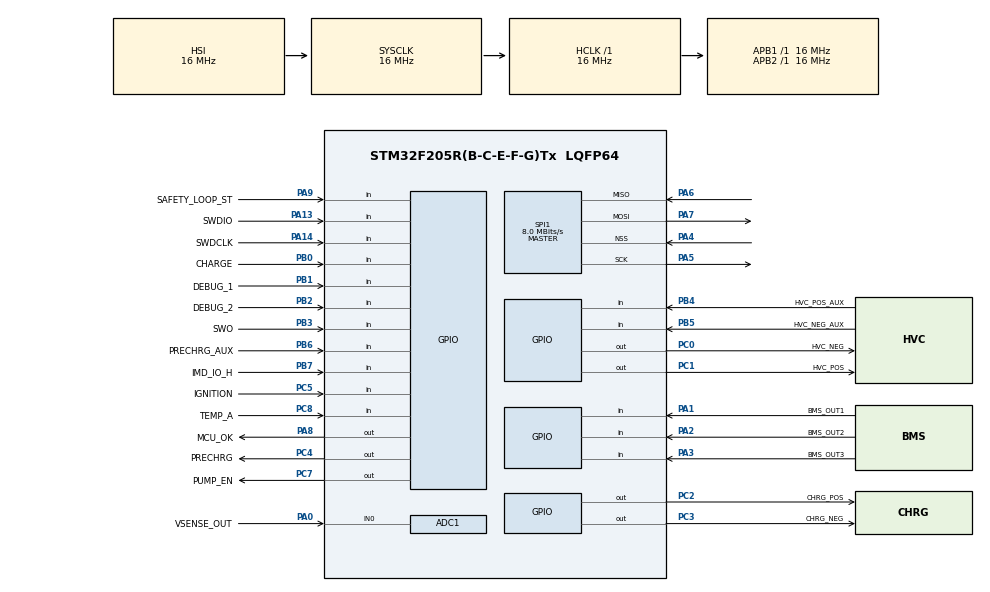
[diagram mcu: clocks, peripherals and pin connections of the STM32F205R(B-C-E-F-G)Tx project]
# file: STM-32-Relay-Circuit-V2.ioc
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ADC1.Channel-0\#ChannelRegularConversion=ADC_CHANNEL_0
ADC1.NbrOfConversionFlag=1
ADC1.Rank-0\#ChannelRegularConversion=1
ADC1.SamplingTime-0\#ChannelRegularConversion=ADC_SAMPLETIME_3CYCLES
ADC1.master=1
Mcu.Family=STM32F2
Mcu.Name=STM32F205R(B-C-E-F-G)Tx
Mcu.Package=LQFP64
NVIC.PriorityGroup=NVIC_PRIORITYGROUP_4
PA0-WKUP.GPIO_Label=VSENSE_OUT
PA0-WKUP.Signal=ADCx_IN0
PA1.GPIO_Label=BMS_OUT1
PA1.Signal=GPIO_Input
PA13.GPIO_Label=SWDIO
PA13.Signal=GPIO_Input
PA14.GPIO_Label=SWDCLK
PA14.Signal=GPIO_Input
PA2.GPIO_Label=BMS_OUT2
PA2.Signal=GPIO_Input
PA3.GPIO_Label=BMS_OUT3
PA3.Signal=GPIO_Input
PA4.Mode=NSS_Signal_Hard_Input
PA4.Signal=SPI1_NSS
PA5.Mode=Full_Duplex_Master
PA5.Signal=SPI1_SCK
PA6.Mode=Full_Duplex_Master
PA6.Signal=SPI1_MISO
PA7.Mode=Full_Duplex_Master
PA7.Signal=SPI1_MOSI
PA8.GPIO_Label=MCU_OK
PA8.Signal=GPIO_Output
PA9.GPIO_Label=SAFETY_LOOP_ST
PA9.Signal=GPIO_Input
PB0.GPIO_Label=CHARGE
PB0.Signal=GPIO_Input
PB1.GPIO_Label=DEBUG_1
PB1.Signal=GPIO_Input
PB2.GPIO_Label=DEBUG_2
PB2.Signal=GPIO_Input
PB3.GPIO_Label=SWO
PB3.Signal=GPIO_Input
PB4.GPIO_Label=HVC_POS_AUX
PB4.Signal=GPIO_Input
PB5.GPIO_Label=HVC_NEG_AUX
PB5.Signal=GPIO_Input
PB6.GPIO_Label=PRECHRG_AUX
PB6.Signal=GPIO_Input
PB7.GPIO_Label=IMD_IO_H
PB7.Signal=GPIO_Input
PC0.GPIO_Label=HVC_NEG
PC0.Signal=GPIO_Output
PC1.GPIO_Label=HVC_POS
PC1.Signal=GPIO_Output
PC2.GPIO_Label=CHRG_POS
PC2.Signal=GPIO_Output
PC3.GPIO_Label=CHRG_NEG
PC3.Signal=GPIO_Output
PC4.GPIO_Label=PRECHRG
PC4.Signal=GPIO_Output
PC5.GPIO_Label=IGNITION
PC5.Signal=GPIO_Input
PC7.GPIO_Label=PUMP_EN
PC7.Signal=GPIO_Output
PC8.GPIO_Label=TEMP_A
PC8.Signal=GPIO_Input
ProjectManager.HeapSize=0x200
ProjectManager.StackSize=0x400
ProjectManager.TargetToolchain=STM32CubeIDE
RCC.48MHZClocksFreq_Value=48000000
RCC.AHBFreq_Value=16000000
RCC.APB1Freq_Value=16000000
RCC.APB2Freq_Value=16000000
RCC.CortexFreq_Value=16000000
RCC.HSE_VALUE=25000000
RCC.HSI_VALUE=16000000
RCC.LSE_VALUE=32768
RCC.SYSCLKFreq_VALUE=16000000
RCC.VCOOutputFreq_Value=192000000
SH.ADCx_IN0.0=ADC1_IN0,IN0
SPI1.CalculateBaudRate=8.0 MBits/s
SPI1.Direction=SPI_DIRECTION_2LINES
SPI1.Mode=SPI_MODE_MASTER
SPI1.VirtualNSS=VM_NSSHARD
SPI1.VirtualType=VM_MASTER
VP_TIM13_VS_ClockSourceINT.Mode=Enable_Timer
VP_TIM2_VS_ClockSourceINT.Mode=Internal
board=custom

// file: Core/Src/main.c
/* USER CODE BEGIN Header */
/**
  ******************************************************************************
  * @file           : main.c
  * @brief          : Main program body
  ******************************************************************************
  * @attention
  *
  * Copyright (c) 2024 STMicroelectronics.
  * All rights reserved.
  *
  * This software is licensed under terms that can be found in the LICENSE file
  * in the root directory of this software component.
  * If no LICENSE file comes with this software, it is provided AS-IS.
  *
  ******************************************************************************
  */
/* USER CODE END Header */
#include "main.h"
#include <stdbool.h>
#include <stdio.h>
#include <stdlib.h>

/* USER CODE BEGIN Includes */
float Read_ADC_Voltage(void);
// watch out for running out of onboard memory because of inline
static inline void check_high(GPIO_TypeDef *GPIOx,uint16_t GPIO_Pin);
static inline void check_low(GPIO_TypeDef *GPIOx,uint16_t GPIO_Pin);

/* USER CODE END Includes */

/* USER CODE BEGIN PD */
#define HVC_POS_AUX_PORT GPIOB
#define HVC_NEG_AUX_PORT GPIOB
#define PRECHRG_AUX_PORT GPIOB
#define R4_AUX_PORT GPIOB

#define BLINK_TEST_PORT GPIOA

#define IMD_IO_H_PORT
#define IMD_IO_L_PORT

#define HVC_POS_PORT GPIOC
#define HVC_NEG_PORT GPIOC
#define PRECHRG_PORT GPIOC
#define VSENSE_OUT_PORT VSENSE_OUT_GPIO_Port
#define CHRG_POS_PORT GPIOC
#define CHRG_NEG_PORT GPIOC

#define BMS_INPUT1_PORT GPIOA
#define BMS_INPUT2_PORT GPIOA
#define BMS_INPUT3_PORT GPIOA

#define SP1_NSS_PORT
#define SP1_SCK_PORT
#define SP1_MISO_PORT
#define SP1_MOSI_PORT

#define IGNITION_PORT GPIOC
#define CHARGE_PORT GPIOC
#define PUMP_EN_PORT GPIOC

#define BMS_OUT1_PORT GPIOB
#define IMD_IO_H_PORT GPIOB
#define SAFETY_LOOP_ST_PORT GPIOA

#define CAN1_TX_PORT
#define CAN1_RX_PORT

typedef enum {
	UPDATING, SHUTDOWN, STANDBY, CHARGING, PRECHARGE, OPERATION, DISCHARGE
} AllStatus;

AllStatus Status = STANDBY;
int updating_counter = 0;
int operation = 0;
int ignition = 0;
int charging = 0;

float can_voltage =0.0;

uint32_t updating_start_tick = 0;
/* USER CODE END PD */

ADC_HandleTypeDef hadc1;

SPI_HandleTypeDef hspi1;

TIM_HandleTypeDef htim2;
TIM_HandleTypeDef htim13;

void SystemClock_Config(void);
static void MX_GPIO_Init(void);
static void MX_ADC1_Init(void);
static void MX_SPI1_Init(void);
static void MX_TIM13_Init(void);
static void MX_TIM2_Init(void);
/* USER CODE BEGIN PFP */
void while_operation(void);
void set_discharge(void);
void set_precharge(void);  // Forward declaration
void set_charging(void);   // Forward declaration
/* USER CODE END PFP */

/* USER CODE BEGIN 0 */
void allRelaysOpen() {
	HAL_GPIO_WritePin(HVC_POS_PORT, HVC_POS_Pin, GPIO_PIN_RESET); // AUX_1
	HAL_GPIO_WritePin(HVC_NEG_PORT, HVC_NEG_Pin, GPIO_PIN_RESET); // AUX_2
	HAL_GPIO_WritePin(PRECHRG_PORT, PRECHRG_Pin, GPIO_PIN_RESET); // AUX_3

	HAL_GPIO_WritePin(CHRG_NEG_PORT, CHRG_NEG_Pin, GPIO_PIN_RESET);
	HAL_GPIO_WritePin(CHRG_POS_PORT, CHRG_POS_Pin, GPIO_PIN_RESET);
	HAL_GPIO_WritePin(PUMP_EN_PORT, PUMP_EN_Pin, GPIO_PIN_RESET);

	HAL_Delay(1000);

	check_low(HVC_POS_AUX_PORT, HVC_POS_AUX_Pin);
	check_low(HVC_NEG_AUX_PORT, HVC_NEG_AUX_Pin);
	check_low(PRECHRG_AUX_PORT, PRECHRG_AUX_Pin);

}

void allDigitalRead() {
	HAL_GPIO_ReadPin(IGNITION_PORT, IGNITION_Pin);
	HAL_GPIO_ReadPin(CHARGE_PORT, CHARGE_Pin);

}

void allAuxDigitalRead() {
	HAL_GPIO_ReadPin(HVC_POS_AUX_PORT, HVC_POS_AUX_Pin);
	HAL_GPIO_ReadPin(HVC_NEG_AUX_PORT, HVC_NEG_AUX_Pin);
	HAL_GPIO_ReadPin(PRECHRG_AUX_PORT, PRECHRG_AUX_Pin);
}

int Reading_Pin(char aux_number) {
	int state = 0; // Default state
	switch (aux_number) {
	case '1':
		state = HAL_GPIO_ReadPin(HVC_POS_AUX_PORT, HVC_POS_AUX_Pin);
		break;
	case '2':
		state = HAL_GPIO_ReadPin(HVC_NEG_AUX_PORT, HVC_NEG_AUX_Pin);
		break;
	case '3':
		state = HAL_GPIO_ReadPin(PRECHRG_AUX_PORT, PRECHRG_AUX_Pin);
		break;
	case 'I':
		state = HAL_GPIO_ReadPin(IGNITION_PORT, IGNITION_Pin);
		break;
	case 'c':
		state = HAL_GPIO_ReadPin(CHARGE_PORT, CHARGE_Pin);
		break;
	case 'h':
		state = HAL_GPIO_ReadPin(VSENSE_OUT_GPIO_Port, VSENSE_OUT_Pin);
		break;
	default:
		state = -1; // Indicate an invalid aux_number
		break;
	}
	return state;
}
/* USER CODE END 0 */

int main(void)
{

  /* MCU Configuration--------------------------------------------------------*/

  /* Reset of all peripherals, Initializes the Flash interface and the Systick. */
  HAL_Init();

  /* Configure the system clock */
  SystemClock_Config();

  /* Initialize all configured peripherals */
  MX_GPIO_Init();
  MX_ADC1_Init();
  MX_SPI1_Init();
  MX_TIM13_Init();
  MX_TIM2_Init();

  /* Infinite loop */
  while (1)
  {

	  if (HAL_GPIO_ReadPin(IGNITION_PORT, IGNITION_Pin) == GPIO_PIN_SET) {
		  set_precharge();
	  	  while_operation();
	  }

	  else if (HAL_GPIO_ReadPin(CHARGE_PORT, CHARGE_Pin) == GPIO_PIN_SET) {
	  	  set_charging();
  	  }

  }
}

void SystemClock_Config(void)
{
  RCC_OscInitTypeDef RCC_OscInitStruct = {0};
  RCC_ClkInitTypeDef RCC_ClkInitStruct = {0};

  /** Initializes the RCC Oscillators according to the specified parameters
  * in the RCC_OscInitTypeDef structure.
  */
  RCC_OscInitStruct.OscillatorType = RCC_OSCILLATORTYPE_HSI;
  RCC_OscInitStruct.HSIState = RCC_HSI_ON;
  RCC_OscInitStruct.HSICalibrationValue = RCC_HSICALIBRATION_DEFAULT;
  RCC_OscInitStruct.PLL.PLLState = RCC_PLL_NONE;
  if (HAL_RCC_OscConfig(&RCC_OscInitStruct) != HAL_OK)
  {
    Error_Handler();
  }

  /** Initializes the CPU, AHB and APB buses clocks
  */
  RCC_ClkInitStruct.ClockType = RCC_CLOCKTYPE_HCLK|RCC_CLOCKTYPE_SYSCLK
                              |RCC_CLOCKTYPE_PCLK1|RCC_CLOCKTYPE_PCLK2;
  RCC_ClkInitStruct.SYSCLKSource = RCC_SYSCLKSOURCE_HSI;
  RCC_ClkInitStruct.AHBCLKDivider = RCC_SYSCLK_DIV1;
  RCC_ClkInitStruct.APB1CLKDivider = RCC_HCLK_DIV1;
  RCC_ClkInitStruct.APB2CLKDivider = RCC_HCLK_DIV1;

  if (HAL_RCC_ClockConfig(&RCC_ClkInitStruct, FLASH_LATENCY_0) != HAL_OK)
  {
    Error_Handler();
  }
}

static void MX_ADC1_Init(void)
{

  ADC_ChannelConfTypeDef sConfig = {0};

  /** Configure the global features of the ADC (Clock, Resolution, Data Alignment and number of conversion)
  */
  hadc1.Instance = ADC1;
  hadc1.Init.ClockPrescaler = ADC_CLOCK_SYNC_PCLK_DIV2;
  hadc1.Init.Resolution = ADC_RESOLUTION_12B;
  hadc1.Init.ScanConvMode = DISABLE;
  hadc1.Init.ContinuousConvMode = DISABLE;
  hadc1.Init.DiscontinuousConvMode = DISABLE;
  hadc1.Init.ExternalTrigConvEdge = ADC_EXTERNALTRIGCONVEDGE_NONE;
  hadc1.Init.ExternalTrigConv = ADC_SOFTWARE_START;
  hadc1.Init.DataAlign = ADC_DATAALIGN_RIGHT;
  hadc1.Init.NbrOfConversion = 1;
  hadc1.Init.DMAContinuousRequests = DISABLE;
  hadc1.Init.EOCSelection = ADC_EOC_SINGLE_CONV;
  if (HAL_ADC_Init(&hadc1) != HAL_OK)
  {
    Error_Handler();
  }

  /** Configure for the selected ADC regular channel its corresponding rank in the sequencer and its sample time.
  */
  sConfig.Channel = ADC_CHANNEL_0;
  sConfig.Rank = 1;
  sConfig.SamplingTime = ADC_SAMPLETIME_3CYCLES;
  if (HAL_ADC_ConfigChannel(&hadc1, &sConfig) != HAL_OK)
  {
    Error_Handler();
  }

}

static void MX_SPI1_Init(void)
{

  /* SPI1 parameter configuration*/
  hspi1.Instance = SPI1;
  hspi1.Init.Mode = SPI_MODE_MASTER;
  hspi1.Init.Direction = SPI_DIRECTION_2LINES;
  hspi1.Init.DataSize = SPI_DATASIZE_8BIT;
  hspi1.Init.CLKPolarity = SPI_POLARITY_LOW;
  hspi1.Init.CLKPhase = SPI_PHASE_1EDGE;
  hspi1.Init.NSS = SPI_NSS_HARD_INPUT;
  hspi1.Init.BaudRatePrescaler = SPI_BAUDRATEPRESCALER_2;
  hspi1.Init.FirstBit = SPI_FIRSTBIT_MSB;
  hspi1.Init.TIMode = SPI_TIMODE_DISABLE;
  hspi1.Init.CRCCalculation = SPI_CRCCALCULATION_DISABLE;
  hspi1.Init.CRCPolynomial = 10;
  if (HAL_SPI_Init(&hspi1) != HAL_OK)
  {
    Error_Handler();
  }

}

static void MX_TIM2_Init(void)
{

  TIM_ClockConfigTypeDef sClockSourceConfig = {0};
  TIM_MasterConfigTypeDef sMasterConfig = {0};

  htim2.Instance = TIM2;
  htim2.Init.Prescaler = 0;
  htim2.Init.CounterMode = TIM_COUNTERMODE_UP;
  htim2.Init.Period = 4294967295;
  htim2.Init.ClockDivision = TIM_CLOCKDIVISION_DIV1;
  htim2.Init.AutoReloadPreload = TIM_AUTORELOAD_PRELOAD_DISABLE;
  if (HAL_TIM_Base_Init(&htim2) != HAL_OK)
  {
    Error_Handler();
  }
  sClockSourceConfig.ClockSource = TIM_CLOCKSOURCE_INTERNAL;
  if (HAL_TIM_ConfigClockSource(&htim2, &sClockSourceConfig) != HAL_OK)
  {
    Error_Handler();
  }
  sMasterConfig.MasterOutputTrigger = TIM_TRGO_RESET;
  sMasterConfig.MasterSlaveMode = TIM_MASTERSLAVEMODE_DISABLE;
  if (HAL_TIMEx_MasterConfigSynchronization(&htim2, &sMasterConfig) != HAL_OK)
  {
    Error_Handler();
  }

}

static void MX_TIM13_Init(void)
{

  htim13.Instance = TIM13;
  htim13.Init.Prescaler = 0;
  htim13.Init.CounterMode = TIM_COUNTERMODE_UP;
  htim13.Init.Period = 65535;
  htim13.Init.ClockDivision = TIM_CLOCKDIVISION_DIV1;
  htim13.Init.AutoReloadPreload = TIM_AUTORELOAD_PRELOAD_DISABLE;
  if (HAL_TIM_Base_Init(&htim13) != HAL_OK)
  {
    Error_Handler();
  }

}

static void MX_GPIO_Init(void)
{
  GPIO_InitTypeDef GPIO_InitStruct = {0};

  /* GPIO Ports Clock Enable */
  __HAL_RCC_GPIOC_CLK_ENABLE();
  __HAL_RCC_GPIOA_CLK_ENABLE();
  __HAL_RCC_GPIOB_CLK_ENABLE();

  /*Configure GPIO pin Output Level */
  HAL_GPIO_WritePin(GPIOC, HVC_NEG_Pin|HVC_POS_Pin|CHRG_POS_Pin|CHRG_NEG_Pin
                          |PRECHRG_Pin|PUMP_EN_Pin, GPIO_PIN_RESET);

  /*Configure GPIO pin Output Level */
  HAL_GPIO_WritePin(MCU_OK_GPIO_Port, MCU_OK_Pin, GPIO_PIN_RESET);

  /*Configure GPIO pins : HVC_NEG_Pin HVC_POS_Pin CHRG_POS_Pin CHRG_NEG_Pin
                           PRECHRG_Pin PUMP_EN_Pin */
  GPIO_InitStruct.Pin = HVC_NEG_Pin|HVC_POS_Pin|CHRG_POS_Pin|CHRG_NEG_Pin
                          |PRECHRG_Pin|PUMP_EN_Pin;
  GPIO_InitStruct.Mode = GPIO_MODE_OUTPUT_PP;
  GPIO_InitStruct.Pull = GPIO_NOPULL;
  GPIO_InitStruct.Speed = GPIO_SPEED_FREQ_LOW;
  HAL_GPIO_Init(GPIOC, &GPIO_InitStruct);

  /*Configure GPIO pins : BMS_OUT1_Pin BMS_OUT2_Pin BMS_OUT3_Pin SAFETY_LOOP_ST_Pin
                           SWDIO_Pin SWDCLK_Pin */
  GPIO_InitStruct.Pin = BMS_OUT1_Pin|BMS_OUT2_Pin|BMS_OUT3_Pin|SAFETY_LOOP_ST_Pin
                          |SWDIO_Pin|SWDCLK_Pin;
  GPIO_InitStruct.Mode = GPIO_MODE_INPUT;
  GPIO_InitStruct.Pull = GPIO_NOPULL;
  HAL_GPIO_Init(GPIOA, &GPIO_InitStruct);

  /*Configure GPIO pins : IGNITION_Pin TEMP_A_Pin */
  GPIO_InitStruct.Pin = IGNITION_Pin|TEMP_A_Pin;
  GPIO_InitStruct.Mode = GPIO_MODE_INPUT;
  GPIO_InitStruct.Pull = GPIO_NOPULL;
  HAL_GPIO_Init(GPIOC, &GPIO_InitStruct);

  /*Configure GPIO pins : CHARGE_Pin DEBUG_1_Pin DEBUG_2_Pin SWO_Pin
                          works HVC_POS_AUX_Pin HVC_NEG_AUX_Pin PRECHRG_AUX_Pin IMD_IO_H_Pin */
  GPIO_InitStruct.Pin = CHARGE_Pin|DEBUG_1_Pin|DEBUG_2_Pin|SWO_Pin
                          |HVC_POS_AUX_Pin|HVC_NEG_AUX_Pin|PRECHRG_AUX_Pin|IMD_IO_H_Pin;
  GPIO_InitStruct.Mode = GPIO_MODE_INPUT;
  GPIO_InitStruct.Pull = GPIO_NOPULL;
  HAL_GPIO_Init(GPIOB, &GPIO_InitStruct);

  /*Configure GPIO pin : MCU_OK_Pin */
  GPIO_InitStruct.Pin = MCU_OK_Pin;
  GPIO_InitStruct.Mode = GPIO_MODE_OUTPUT_PP;
  GPIO_InitStruct.Pull = GPIO_NOPULL;
  GPIO_InitStruct.Speed = GPIO_SPEED_FREQ_LOW;
  HAL_GPIO_Init(MCU_OK_GPIO_Port, &GPIO_InitStruct);

}

/* USER CODE BEGIN 4 */
int _write(int file, char *ptr, int len) {
	(void) file;
	int DataIdx;

	for (DataIdx = 0; DataIdx < len; DataIdx++) {
		ITM_SendChar(*ptr++);
	}
	return len;
}

void HAL_TIM_PeriodElapsedCallback(TIM_HandleTypeDef *htim) {
// Check if the interrupt comes from TIM2
	if(htim->Instance == TIM3){
		can_voltage = 103.6; 	// MANUAL SET VOLTAGE
		}
	if (htim->Instance == TIM2) {
		if (HAL_GPIO_ReadPin(SAFETY_LOOP_ST_PORT, SAFETY_LOOP_ST_Pin) == GPIO_PIN_SET) {
			Status = SHUTDOWN;
		}

		switch (Status) {
		case UPDATING:
			if (updating_start_tick == 0) { // Initialize start tick on first entry
				updating_start_tick = HAL_GetTick();
			}
				// Check if 30 seconds have elapsed
			if ((HAL_GetTick() - updating_start_tick) > 30000) {
				updating_start_tick = 0;  // Reset for next use
				Error_Handler();
			}
			break;
		case SHUTDOWN:
			if (HAL_GPIO_ReadPin(IMD_IO_H_PORT, IMD_IO_H_Pin)
					== GPIO_PIN_RESET) {
				printf("IMD NOT OK.\n");
			} else if (HAL_GPIO_ReadPin(BMS_OUT1_PORT, BMS_OUT1_Pin)
					== GPIO_PIN_RESET) {
				printf("BMS NOT OK.\n");
			} else {
				printf("Cause of shutdown is unknown.\n");
			}
			Error_Handler();
		case STANDBY:
			//i forgot which AUX pins we need to check for standby -ray
			if (HAL_GPIO_ReadPin(HVC_POS_AUX_PORT, HVC_POS_AUX_Pin) == GPIO_PIN_RESET) { //please double check all AUX pins -ray
				if (HAL_GPIO_ReadPin(HVC_NEG_AUX_PORT, HVC_NEG_AUX_Pin)
						== GPIO_PIN_RESET) { //also 3 if statements seems a bit more readable
					if (HAL_GPIO_ReadPin(PRECHRG_AUX_PORT, PRECHRG_AUX_Pin)
							== GPIO_PIN_RESET) {
						break;
					}
				}
			}
			Error_Handler();
		case CHARGING:
			//i dont know which AUX pins we need to check for charging -ray
			if (HAL_GPIO_ReadPin(HVC_POS_AUX_PORT, HVC_POS_AUX_Pin) == GPIO_PIN_RESET) { //please double check all AUX pins -ray
				if (HAL_GPIO_ReadPin(HVC_NEG_AUX_PORT, HVC_NEG_AUX_Pin)
						== GPIO_PIN_RESET) { //also 3 if statements seems a bit more readable
					if (HAL_GPIO_ReadPin(PRECHRG_AUX_PORT, PRECHRG_AUX_Pin)
							== GPIO_PIN_RESET) {
						break;
					}
				}
			}
			Error_Handler();
		case PRECHARGE:
			if (HAL_GPIO_ReadPin(HVC_POS_AUX_PORT, HVC_POS_AUX_Pin) == GPIO_PIN_RESET) { //please double check all AUX pins -ray
				if (HAL_GPIO_ReadPin(HVC_NEG_AUX_PORT, HVC_NEG_AUX_Pin) == GPIO_PIN_SET) { //also 3 if statements seems a bit more readable
					if (HAL_GPIO_ReadPin(PRECHRG_AUX_PORT, PRECHRG_AUX_Pin)
							== GPIO_PIN_SET) {
						break;
					}
				}
			}
			Error_Handler();
		case OPERATION:
			if (HAL_GPIO_ReadPin(HVC_POS_AUX_PORT, HVC_POS_AUX_Pin) == GPIO_PIN_SET) {
				if (HAL_GPIO_ReadPin(HVC_NEG_AUX_PORT, HVC_NEG_AUX_Pin) == GPIO_PIN_SET) {
					if (HAL_GPIO_ReadPin(PRECHRG_AUX_PORT, PRECHRG_AUX_Pin)
							== GPIO_PIN_RESET) {
						break;
					}
				}
			}
			Error_Handler();
		case DISCHARGE:
			if (HAL_GPIO_ReadPin(HVC_POS_AUX_PORT, HVC_POS_AUX_Pin) == GPIO_PIN_RESET) {
				if (HAL_GPIO_ReadPin(HVC_NEG_AUX_PORT, PRECHRG_AUX_Pin)
						== GPIO_PIN_RESET) {
					if (HAL_GPIO_ReadPin(PRECHRG_AUX_PORT, PRECHRG_AUX_Pin)
							== GPIO_PIN_RESET) {
						break;
					}
				}
			}
			Error_Handler();
		default:
			Error_Handler();
		}
	}
}

// delays are now built into the checks -ray
static inline void check_high(GPIO_TypeDef *GPIOx,uint16_t GPIO_Pin){

	return;

//	for (int i = 0; i < 5; ++i) {
//		HAL_Delay(100);
//        if (HAL_GPIO_ReadPin(GPIOx, GPIO_Pin)) {
//			return;
//		}
//	}
//	Error_Handler();
}

static inline void check_low(GPIO_TypeDef *GPIOx, uint16_t GPIO_Pin) {

	return;

//    for (int i = 0; i < 5; ++i) {
//        HAL_Delay(100);
//        if (!HAL_GPIO_ReadPin(GPIOx, GPIO_Pin)) {
//            return;
//        }
//    }
//    Error_Handler(); // Trigger error handler if the pin state is not low after retries
}

//these functions use mostly copied code from old main loop -ray
void set_precharge() {

	// debug_LED
	HAL_GPIO_WritePin(DEBUG_1_PORT, DEBUG_1_Pin, GPIO_PIN_SET);
	HAL_GPIO_WritePin(DEBUG_2_PORT, DEBUG_2_Pin, GPIO_PIN_SET);

	uint32_t start_tick = HAL_GetTick(); // in milliseconds
	uint32_t timeout = 30000; // Timeout set for 30000 milliseconds or 30 seconds
	double hv_sense_voltage;
	bool voltage_reached = false;

	Status = UPDATING;
	allRelaysOpen();
	HAL_GPIO_WritePin(HVC_NEG_PORT, HVC_NEG_Pin, GPIO_PIN_SET);
	check_high(HVC_NEG_AUX_PORT, HVC_NEG_AUX_Pin);
	HAL_GPIO_WritePin(PRECHRG_PORT, PRECHRG_Pin, GPIO_PIN_SET);
	check_high(PRECHRG_AUX_PORT, PRECHRG_AUX_Pin);

	while (1) {
		hv_sense_voltage = Read_ADC_Voltage();
		if (hv_sense_voltage >= 0.9 * can_voltage) { // CANBUS VLAUE FROM ISR
			voltage_reached = true;
			Status = PRECHARGE; // Successfully precharged, update status
			while_operation();
			break; // Exit the loop on successful precharge
		}

		// Check for timeout
		if (HAL_GetTick() - start_tick >= timeout) {
			break; // Exit the loop after timeout
		}

		HAL_Delay(1000); // Delay for 1 second before checking again
	}

	if (!voltage_reached) {
		printf("Failed to reach the required voltage within 30 seconds.\n");
		Error_Handler(); // Handle the timeout error
	}
	return;
}

void while_operation() {

	// debug_LED
	HAL_GPIO_WritePin(DEBUG_1_PORT, DEBUG_1_Pin, GPIO_PIN_SET);
	HAL_GPIO_WritePin(DEBUG_2_PORT, DEBUG_2_Pin, GPIO_PIN_RESET);

	if (HAL_GPIO_ReadPin(IGNITION_PORT, IGNITION_Pin) == GPIO_PIN_RESET) {
		set_discharge();
	} else {
		Status = UPDATING;
		HAL_GPIO_WritePin(HVC_POS_PORT, HVC_POS_Pin, GPIO_PIN_SET);
		check_high(HVC_POS_AUX_PORT, HVC_POS_AUX_Pin);

		HAL_Delay(1000); // Wait for 1 second to ensure stability

		HAL_GPIO_WritePin(PRECHRG_PORT, PRECHRG_Pin, GPIO_PIN_RESET);
		check_low(PRECHRG_AUX_PORT, PRECHRG_AUX_Pin);

		Status = OPERATION; // Set status to OPERATION
	}
	return;
}

void set_discharge() {

	// debug_LED
	HAL_GPIO_WritePin(DEBUG_1_PORT, DEBUG_1_Pin, GPIO_PIN_RESET);
	HAL_GPIO_WritePin(DEBUG_2_PORT, DEBUG_2_Pin, GPIO_PIN_RESET);

	Status = UPDATING;
	HAL_Delay(30000); // 30-second delay for any necessary pre-discharge preparations

	allRelaysOpen(); // Open all relays to ensure system is in a safe state before discharging

	HAL_GPIO_WritePin(MCU_OK_GPIO_Port, MCU_OK_Pin, GPIO_PIN_RESET);

	operation = 0; // Reset operation status
	Status = DISCHARGE; // Set status to DISCHARGE
	return;
}

void set_charging() {

	// debug_LED
	HAL_GPIO_WritePin(DEBUG_1_PORT, DEBUG_1_Pin, GPIO_PIN_RESET);
	HAL_GPIO_WritePin(DEBUG_2_PORT, DEBUG_2_Pin, GPIO_PIN_SET);

	Status = UPDATING;
	allRelaysOpen();  // Open all relays to ensure the system is in a safe state

	HAL_GPIO_WritePin(CHRG_NEG_PORT, CHRG_NEG_Pin, GPIO_PIN_SET);

	HAL_GPIO_WritePin(CHRG_POS_PORT, CHRG_POS_Pin, GPIO_PIN_SET);

	Status = CHARGING; // Update system status to CHARGING after successful pin settings
}

float Read_ADC_Voltage(void) {
	uint32_t hv_sense_value;
	// Start the ADC
	HAL_ADC_Start(&hadc1);

	// Poll for conversion completion with a timeout of 10ms
	if (HAL_ADC_PollForConversion(&hadc1, 100) == HAL_OK) {
		hv_sense_value = HAL_ADC_GetValue(&hadc1);
		return (hv_sense_value / 4095.0) * 103.6;
	} else {
		// Handle the error or return a default value
		return -1.0f;  // Indicate an error in conversion
	}
}
/* USER CODE END 4 */

void Error_Handler(void)
{
  __disable_irq();
  while (1)
  {
  }
}
